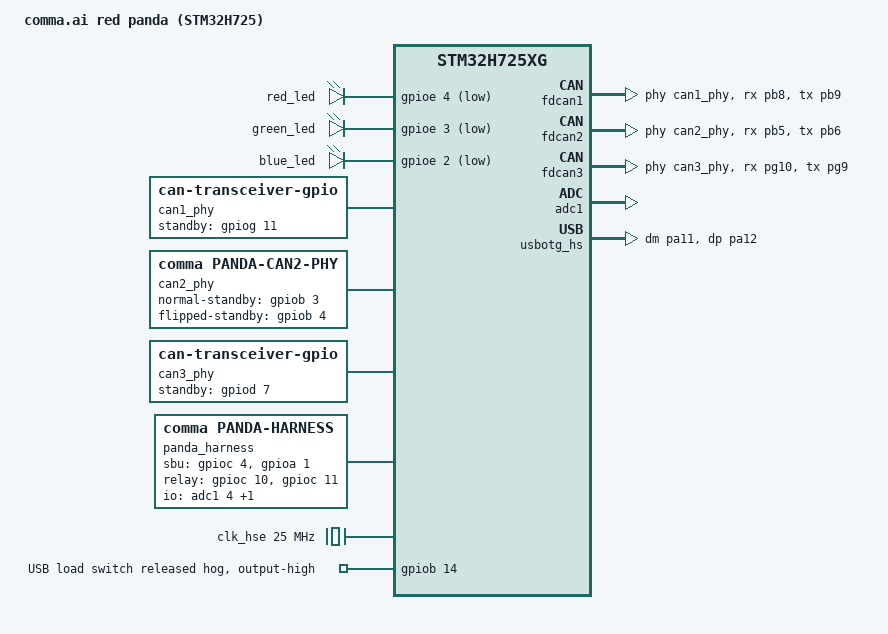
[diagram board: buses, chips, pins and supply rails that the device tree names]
/*
 * SPDX-License-Identifier: Apache-2.0
 * Hardware reference: commaai/panda f849893b, board/boards/red.h and
 * board/stm32h7/{clock,peripherals,llfdcan_declarations}.h.
 */
/dts-v1/;
#include <st/h7/stm32h725Xg.dtsi>
#include <st/h7/stm32h725zgtx-pinctrl.dtsi>
#include <zephyr/dt-bindings/gpio/gpio.h>

/ {
	model = "comma.ai red panda (STM32H725)";
	compatible = "comma,panda-red";

	chosen {
		zephyr,sram = &sram0;
		zephyr,flash = &flash0;
		zephyr,canbus = &fdcan1;
	};

	leds {
		compatible = "gpio-leds";
		red_led: red {
			gpios = <&gpioe 4 GPIO_ACTIVE_LOW>;
		};
		green_led: green {
			gpios = <&gpioe 3 GPIO_ACTIVE_LOW>;
		};
		blue_led: blue {
			gpios = <&gpioe 2 GPIO_ACTIVE_LOW>;
		};
	};

	can1_phy: can1-phy {
		compatible = "can-transceiver-gpio";
		#phy-cells = <0>;
		max-bitrate = <5000000>;
		standby-gpios = <&gpiog 11 GPIO_ACTIVE_HIGH>;
	};
	can2_phy: can2-phy {
		compatible = "comma,panda-can2-phy";
		#phy-cells = <0>;
		max-bitrate = <5000000>;
		normal-standby-gpios = <&gpiob 3 GPIO_ACTIVE_HIGH>;
		flipped-standby-gpios = <&gpiob 4 GPIO_ACTIVE_HIGH>;
	};
	can3_phy: can3-phy {
		compatible = "can-transceiver-gpio";
		#phy-cells = <0>;
		max-bitrate = <5000000>;
		standby-gpios = <&gpiod 7 GPIO_ACTIVE_HIGH>;
	};

	panda_harness: harness {
		compatible = "comma,panda-harness";
		sbu-gpios = <&gpioc 4 GPIO_ACTIVE_HIGH>, <&gpioa 1 GPIO_ACTIVE_HIGH>;
		io-channels = <&adc1 4>, <&adc1 17>;
		relay-gpios = <&gpioc 10 GPIO_ACTIVE_HIGH>, <&gpioc 11 GPIO_ACTIVE_HIGH>;
		can-controller = <&fdcan2>;
		pinctrl-0 = <&fdcan2_rx_pb12 &fdcan2_tx_pb13>;
		pinctrl-names = "default";
	};
};

&pwr {
	/* Red panda uses the H725's internal SMPS directly. */
	power-supply = "smps-direct";
};

&clk_hse {
	clock-frequency = <DT_FREQ_M(25)>;
	status = "okay";
};

&clk_hsi48 {
	status = "okay";
};

&pll {
	clocks = <&clk_hse>;
	div-m = <5>;
	mul-n = <48>;
	div-p = <1>;
	div-q = <3>;
	div-r = <2>;
	status = "okay";
};

&rcc {
	clocks = <&pll>;
	clock-frequency = <DT_FREQ_M(240)>;
	d1cpre = <1>;
	hpre = <2>;
	d1ppre = <2>;
	d2ppre1 = <2>;
	d2ppre2 = <2>;
	d3ppre = <2>;
};

/* The three controllers share 10 KiB of message RAM. Reserve 3384 bytes each,
 * as in panda: 1 standard + 1 extended filter, 24 RX slots, 16 TX events/slots.
 * Each configured region uses 3020 bytes, including 64-byte FD payloads.
 */
can1: &fdcan1 {
	pinctrl-0 = <&fdcan1_rx_pb8 &fdcan1_tx_pb9>;
	pinctrl-names = "default";
	phys = <&can1_phy>;
	clocks = <&rcc STM32_CLOCK(APB1_2, 8)>, <&rcc STM32_SRC_PLL1_Q FDCAN_SEL(1)>;
	reg = <0x4000a000 0x400>, <0x4000ac00 0x2800>;
	bosch,mram-cfg = <0x0000 1 1 24 0 0 16 16>;
	status = "okay";
};

can2: &fdcan2 {
	pinctrl-0 = <&fdcan2_rx_pb5 &fdcan2_tx_pb6>;
	pinctrl-names = "default";
	phys = <&can2_phy>;
	clocks = <&rcc STM32_CLOCK(APB1_2, 8)>, <&rcc STM32_SRC_PLL1_Q FDCAN_SEL(1)>;
	reg = <0x4000a400 0x400>, <0x4000ac00 0x2800>;
	bosch,mram-cfg = <0x0d38 1 1 24 0 0 16 16>;
	status = "okay";
};

can3: &fdcan3 {
	/* AF2 assigns PG10 to RX and PG9 to TX. */
	pinctrl-0 = <&fdcan3_rx_pg10 &fdcan3_tx_pg9>;
	pinctrl-names = "default";
	phys = <&can3_phy>;
	clocks = <&rcc STM32_CLOCK(APB1_2, 8)>, <&rcc STM32_SRC_PLL1_Q FDCAN_SEL(1)>;
	reg = <0x4000d400 0x400>, <0x4000ac00 0x2800>;
	bosch,mram-cfg = <0x1a70 1 1 24 0 0 16 16>;
	status = "okay";
};

&adc1 {
	st,adc-clock-source = "SYNC";
	st,adc-prescaler = <4>;
	status = "okay";
};

zephyr_udc0: &usbotg_hs {
	pinctrl-0 = <&usb_otg_hs_dm_pa11 &usb_otg_hs_dp_pa12>;
	pinctrl-names = "default";
	maximum-speed = "full-speed";
	status = "okay";
};

&usb_otg_hs_dm_pa11 {
	slew-rate = "very-high-speed";
};

&usb_otg_hs_dp_pa12 {
	slew-rate = "very-high-speed";
};

&gpiob {
	usb_load_switch {
		gpio-hog;
		gpios = <14 (GPIO_ACTIVE_HIGH | GPIO_OPEN_DRAIN | GPIO_PULL_UP)>;
		output-high;
		line-name = "USB load switch released";
	};
};
